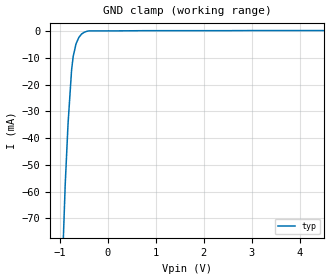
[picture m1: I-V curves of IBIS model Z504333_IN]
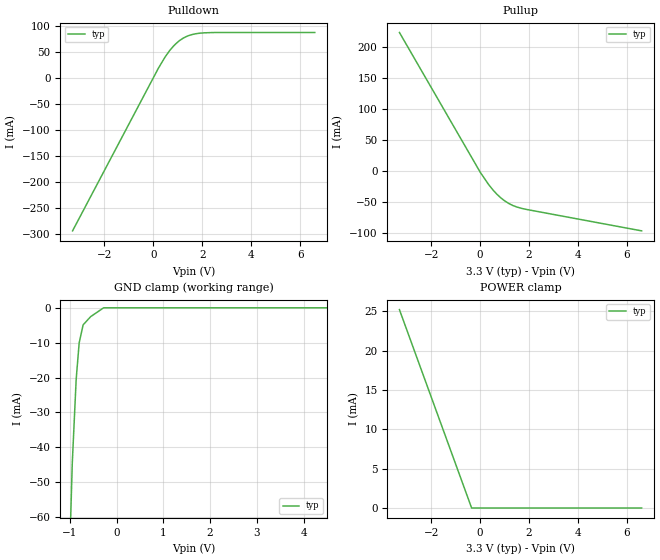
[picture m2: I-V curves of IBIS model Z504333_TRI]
| YOU ARE ONLY AUTHORIZED TO USE THIS SOFTWARE
| ACCORDING TO LICENSOR'S LICENSE RESTRICTIONS.
[IBIS Ver] 3.1
[File Name] mc74lcx125d.ibs
[File Rev] 2.0
[Source] Measured and created by ICX Technology
[Date] Friday 7/14/00 9:08:12 AM
[Copyright]
| (C) COPYRIGHT 1993-2000
| MENTOR GRAPHICS CORPORATION
| ICX STANDARD LIBRARY, ICX PROJECT MODELING,
| ICX CUSTOM MODELING, ICX VENDOR MODEL
| ALL RIGHTS RESERVED.
| THE FOLLOWING ARE TRADEMARKS OR SERVICE MARKS OF
| MENTOR GRAPHICS CORPORATION:ICX (R), ICX STANDARD
| LIBRARY(R), ICX PROJECT MODELING(R), ICX CUSTOM
| MODELING(R), qualityIBIS(TM), MODELVIEWER(TM),
| AND MODELEDITOR(TM)
| ALL COPIES OF SOFTWARE, INCLUDING BUT NOT LIMITED TO
| ANY MODIFICATIONS, ENHANCEMENTS OR DERIVATIVE WORKS,
| MUST CONTAIN ALL MENTOR GRAPHICS CORPORATION'S
| NOTICES AND LEGENDS, INCLUDING THOSE EMBEDDED IN
| SOFTWARE AND THOSE AFFIXED TO SOFTWARE MEDIUM
| AND CONTAINER, AS RECEIVED FROM MENTOR GRAPHICS
| CORPORATION.
|  ZAP Model Builder 2.7
[Component] MC74LCX125D
[Manufacturer] OnSemiconductor
[Package]
| variable   typ   min   max
R_pkg  .155ohms NA NA
L_pkg  3.028nH NA NA
C_pkg  .381pF NA NA
[Pin] signal_name  model_name  R_pin  L_pin C_pin
1 _G Z504333_IN .16 3.587n .407p
2 A Z504333_IN .156 3.147n .387p
3 Y Z504333_TRI .152 2.717n .367p
4 _G Z504333_IN .148 2.297n .347p
5 A Z504333_IN .152 2.717n .367p
6 Y Z504333_TRI .156 3.147n .387p
7 GROUND GND .16 3.587n .407p
8 Y Z504333_TRI .16 3.587n .407p
9 A Z504333_IN .156 3.147n .387p
10 _G Z504333_IN .152 2.717n .367p
11 Y Z504333_TRI .148 2.297n .347p
12 A Z504333_IN .152 2.717n .367p
13 _G Z504333_IN .156 3.147n .387p
14 VCC POWER .16 3.587n .407p
| Models and submodels in the file (2): Z504333_IN (Input), Z504333_TRI (3-state)
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| (C) COPYRIGHT 1993-2000
| MENTOR GRAPHICS CORPORATION
| ICX STANDARD LIBRARY, ICX PROJECT MODELING,
| ICX CUSTOM MODELING, ICX VENDOR MODEL
| ALL RIGHTS RESERVED.
| THE FOLLOWING ARE TRADEMARKS OR SERVICE MARKS OF
| MENTOR GRAPHICS CORPORATION:ICX (R), ICX STANDARD
| LIBRARY(R), ICX PROJECT MODELING(R), ICX CUSTOM
| MODELING(R), qualityIBIS(TM), MODELVIEWER(TM),
| AND MODELEDITOR(TM)
| ALL COPIES OF SOFTWARE, INCLUDING BUT NOT LIMITED TO
| ANY MODIFICATIONS, ENHANCEMENTS OR DERIVATIVE WORKS,
| MUST CONTAIN ALL MENTOR GRAPHICS CORPORATION'S
| NOTICES AND LEGENDS, INCLUDING THOSE EMBEDDED IN
| SOFTWARE AND THOSE AFFIXED TO SOFTWARE MEDIUM
| AND CONTAINER, AS RECEIVED FROM MENTOR GRAPHICS
| CORPORATION.
| Model Application Version 1.89 2/18/99.
[Model] Z504333_IN
Model_type Input
Vinl = 800.0mV
Vinh = 2.000V
C_comp 4.000pF NA NA
| variable typ   min   max
[Voltage Range] 3.300V NA NA
[GND Clamp Reference] 0.000V NA NA
[POWER Clamp Reference] 3.300V NA NA
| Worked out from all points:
|   GND clamp passes 1 mA (typ) near -0.55 V on its own axis
[GND Clamp]
-3.3V     -2.401A    NA         NA
-1.016V   -123.4mA   NA         NA
-888.6mV  -57.37mA   NA         NA
-830.1mV  -34.75mA   NA         NA
-756mV    -14.52mA   NA         NA
-722.7mV  -9.426mA   NA         NA
-663.8mV  -4.72mA    NA         NA
-606.7mV  -2.387mA   NA         NA
-550mV    -1.046mA   NA         NA
-488.3mV  -332.7uA   NA         NA
-390.6mV  153.7uA    NA         NA
6.6V      275.3uA    NA         NA
[POWER Clamp]
-3.3V     0A         NA         NA
6.6V      0A         NA         NA
| (C) COPYRIGHT 1993-2000
| MENTOR GRAPHICS CORPORATION
| ICX STANDARD LIBRARY, ICX PROJECT MODELING,
| ICX CUSTOM MODELING, ICX VENDOR MODEL
| ALL RIGHTS RESERVED.
| THE FOLLOWING ARE TRADEMARKS OR SERVICE MARKS OF
| MENTOR GRAPHICS CORPORATION:ICX (R), ICX STANDARD
| LIBRARY(R), ICX PROJECT MODELING(R), ICX CUSTOM
| MODELING(R), qualityIBIS(TM), MODELVIEWER(TM),
| AND MODELEDITOR(TM)
| ALL COPIES OF SOFTWARE, INCLUDING BUT NOT LIMITED TO
| ANY MODIFICATIONS, ENHANCEMENTS OR DERIVATIVE WORKS,
| MUST CONTAIN ALL MENTOR GRAPHICS CORPORATION'S
| NOTICES AND LEGENDS, INCLUDING THOSE EMBEDDED IN
| SOFTWARE AND THOSE AFFIXED TO SOFTWARE MEDIUM
| AND CONTAINER, AS RECEIVED FROM MENTOR GRAPHICS
| CORPORATION.
| Model Application Version 1.89 2/18/99.
[Model] Z504333_TRI
Model_type 3-state
Vref=0.000V
Rref=500.0ohms
Cref=50.00pF
Vmeas=1.500V
C_comp 8.000pF NA NA
| variable typ   min   max
[Voltage Range] 3.300V NA NA
[POWER Clamp Reference] 3.300V NA NA
[Pullup Reference] 3.300V NA NA
[Pulldown Reference] 0.000V NA NA
[GND Clamp Reference] 0.000V NA NA
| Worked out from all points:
|   slope of the pulldown table from 0 to 0.495 V, typ, clamps not added: 12.1 ohm
|   slope of the pullup table from 0 to 0.495 V, typ, clamps not added: 18.1 ohm
[GND Clamp]
-3.3V     -1.125A    NA         NA
-947mV    -44.56mA   NA         NA
-863.7mV  -20.53mA   NA         NA
-799.6mV  -10.08mA   NA         NA
-715.1mV  -4.894mA   NA         NA
-553.9mV  -2.532mA   NA         NA
-277mV    0A         NA         NA
6.6V      0A         NA         NA
[Pulldown]
-3.3V     -293.8mA   NA         NA
207.4mV   18.58mA    NA         NA
482mV     40.2mA     NA         NA
667.6mV   52.51mA    NA         NA
1.066V    71.55mA    NA         NA
1.474V    81.82mA    NA         NA
2.087V    86.63mA    NA         NA
6.6V      87.27mA    NA         NA
[Pullup]
-3.3V     223.6mA    NA         NA
1mV       -1.881mA   NA         NA
340mV     -21.54mA   NA         NA
525mV     -30.64mA   NA         NA
853mV     -43.61mA   NA         NA
1.181V    -52.61mA   NA         NA
1.718V    -60.53mA   NA         NA
6.6V      -96.57mA   NA         NA
[POWER Clamp]
-3.3V     25.2mA     NA         NA
-349.5mV  0A         NA         NA
6.6V      0A         NA         NA
[Ramp]
| variable typ min max
dV/dt_r 1.933/406.4p NA NA
dV/dt_f 1.933/725.5p NA NA
R_load = 500.0Ohms
